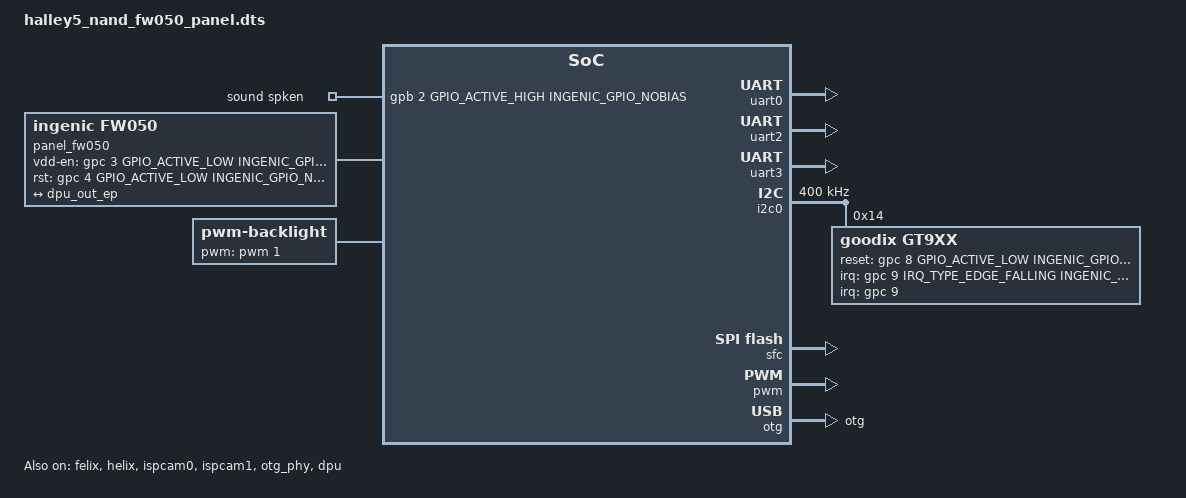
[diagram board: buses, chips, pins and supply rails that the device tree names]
/dts-v1/;

#include <dt-bindings/input/input.h>
#include "x2000-v12.dtsi"
#include <dt-bindings/interrupt-controller/irq.h>
#include <generated/autoconf.h>

/ {
	compatible = "ingenic,x2000_halley5_module_base", "ingenic,x2000-v12";

	reserved-memory {
		#address-cells = <1>;
		#size-cells = <1>;
		ranges =<>;

        reserved_memory: reserved_mem@0x6800000{
              compatible = "shared-dma-pool";
              reg = <0x06800000 0x1800000>;
        };
	};

};

&uart0 {
	status = "okay";
	pinctrl-names = "default";
	pinctrl-0 = <&uart0_pd>;
};

&uart2 {
	status = "okay";
	pinctrl-names = "default";
	pinctrl-0 = <&uart2_pd>;
};

&uart3 {
	status = "okay";
	pinctrl-names = "default";
	pinctrl-0 = <&uart3_pc>;
};

&cpufreq {
	status = "okay";
	operating-points = <
		/*KHZ uV */
		1200000	900000
		750000	900000
		600000	900000
		500000	900000
		400000	900000
		375000	900000
		300000	900000
		200000	900000
			>;

};

&pinctrl {
	ingenic,gpa_voltage = <GPIO_VOLTAGE_1V8>;
};

&i2c0 {
	clock-frequency = <400000>;
	pinctrl-names = "default";
	pinctrl-0 = <&i2c0_pc>;

	goodix@0x14{
		compatible = "goodix,gt9xx"; /* do not modify */
		reg = <0x14>; /* do not modify */
		interrupt-parent = <&gpc>; /* INT pin */
		interrupts = <9>;
		reset-gpios = <&gpc 8 GPIO_ACTIVE_LOW INGENIC_GPIO_NOBIAS>; /* RST pin */
		irq-gpios = <&gpc 9 IRQ_TYPE_EDGE_FALLING INGENIC_GPIO_NOBIAS>; /* INT pin */
		goodix,driver-send-cfg = <1>;
		touchscreen-size-x = <1280>;
		touchscreen-size-y = <720>;
		goodix,slide-wakeup = <0>;
		goodix,type-a-report = <0>;
		goodix,resume-in-workqueue = <0>;
		goodix,int-sync = <1>;
		goodix,swap-x2y = <0>;
		goodix,auto-update-cfg = <0>;
		goodix,power-off-sleep = <0>;
		goodix,pen-suppress-finger = <0>;
		irq-flags = <2>; /* 1 rising, 2 falling */
		goodix,cfg-group0 = [
			00 D0 02 00 05 0A 05 00 01 08 28
			05 50 32 03 05 00 00 00 00 00 00
			00 00 00 00 00 87 28 09 17 15 31
			0D 00 00 02 9B 03 25 00 00 00 00
			00 03 64 32 00 00 00 0F 36 94 C5
			02 07 00 00 04 9B 11 00 7B 16 00
			64 1C 00 50 25 00 42 2F 00 42 00
			00 00 00 00 00 00 00 00 00 00 00
			00 00 00 00 00 00 00 00 00 00 00
			00 00 00 00 00 00 00 00 00 00 00
			00 00 12 10 0E 0C 0A 08 06 04 02
			FF FF FF FF FF 00 00 00 00 00 00
			00 00 00 00 00 00 00 00 00 00 26
			24 22 21 20 1F 1E 1D 00 02 04 06
			08 0A 0C FF FF FF FF FF FF FF FF
			FF FF FF 00 00 00 00 00 00 00 00
			00 00 00 00 00 00 00 00 CF 01];
	};

};


&felix {
	status = "okay";
	memory-region=<&reserved_memory>;
};

&helix {
	status = "okay";
    /*memory-region=<&reserved_memory>;*/
};

&ispcam0 {
	status = "okay";
    /*memory-region=<&reserved_memory>;*/
};

&ispcam1 {
	status = "okay";
    /*memory-region=<&reserved_memory>;*/
};

&pdma {
	status = "okay";
};

&sfc {
	status = "okay";
	pinctrl-names = "default";
	pinctrl-0 = <&sfc_pe>;
	ingenic,sfc-init-frequency = <200000000>;
	ingenic,sfc-max-frequency = <320000000>;
	ingenic,use_ofpart_info  = /bits/ 8 <0>;
	ingenic,spiflash_param_offset = <0>;


};

&pwm {
	pinctrl-names = "default";
	pinctrl-0 = <&pwm1_pc>;
	status = "okay";
};

&otg {
	// g-use-dma;
	dr_mode = "otg";
	status = "okay";
};

&otg_phy {
	dr_mode = "otg";
	compatible = "ingenic,innophy", "syscon";
	status = "okay";
};

&as_be_baic {
	pinctrl-names = "default";
	pinctrl-0 =  <&baic4_pd>;
};

&as_dmic {
	pinctrl-names = "default";
	pinctrl-0 = <&dmic_pc_4ch>;
};

&dpu {
	status = "okay";
		dpu_out_ep: endpoint {
			/*remote-endpoint = <&panel_ma0060_ep>;*/
			remote-endpoint = <&panel_fw050_ep>;
	    };
	};


/ {

	extclk: extclk {
		clock-frequency = <24000000>;
	};

	sound {
		compatible = "ingenic,x2000-sound";
		ingenic,model = "halley5_v20";
		ingenic,spken-gpio = <&gpb 2 GPIO_ACTIVE_HIGH INGENIC_GPIO_NOBIAS>;
	};

	display-dbi {
		compatible = "simple-bus";
		#interrupt-cells = <1>;
		#address-cells = <1>;
		#size-cells = <1>;
		ranges = <>;
		panel_fw050 {
			compatible = "ingenic,fw050";
			status = "okay";
			pinctrl-names = "default";
			pinctrl-0 = <&smart_lcd_pb_te>;
			ingenic,vdd-en-gpio = <&gpc 3 GPIO_ACTIVE_LOW INGENIC_GPIO_NOBIAS>;
			ingenic,rst-gpio = <&gpc 4 GPIO_ACTIVE_LOW INGENIC_GPIO_NOBIAS>;
		//	ingenic,lcd-pwm-gpio = <&gpc 1 GPIO_ACTIVE_HIGH INGENIC_GPIO_NOBIAS>;
			port {
				panel_fw050_ep: endpoint {
							remote-endpoint = <&dpu_out_ep>;
						};
			};
		};
	};

	backlight {
		compatible = "pwm-backlight";
		pwms = <&pwm 1 1000000>; /* arg1: pwm channel id [0~15]. arg2: period in ns. */
		brightness-levels = <0 1 2 3 4 5 6 7 8 9 10 11 12 13 14 15>;
		default-brightness-level = <4>;
	};

	};
